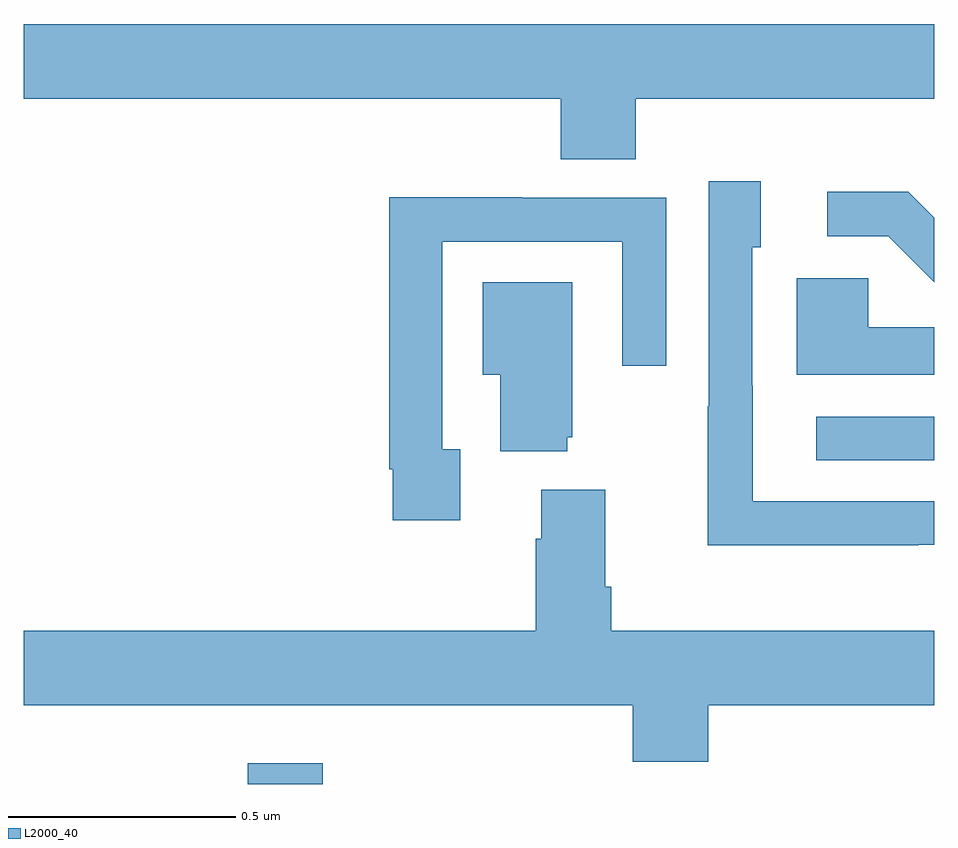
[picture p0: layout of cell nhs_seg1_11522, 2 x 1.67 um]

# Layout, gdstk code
import gdstk
lib = gdstk.Library(unit=1e-6, precision=1e-09)
def R(c, l, rs):  # rectangles x0, y0, x1, y1
    for r in rs: c.add(gdstk.rectangle(r[:2], r[2:], *l))
def P(c, l, *ps):  # polygons
    for p in ps: c.add(gdstk.Polygon(p, *l))
L2000_40 = (2000, 40)

nhs_seg1_11522 = lib.new_cell('nhs_seg1_11522')
R(nhs_seg1_11522, L2000_40, [(254.492,578.199,254.657,578.245), (255.741,578.91,256,579.006)])
P(nhs_seg1_11522, L2000_40, [(255.344,579.704),(256,579.704),(256,579.868),(254,579.868),(254,579.704),(255.179,579.704),(255.179,579.571),(255.344,579.571)],
  [(255.965,578.724),(256,578.724),(256,578.82),(255.601,578.82),(255.601,579.074),(255.6,579.074),(255.6,579.378),(255.619,579.378),(255.619,579.523),(255.504,579.523),(255.504,579.029),(255.502,579.029),(255.502,578.723),(255.965,578.723)],
  [(256,579.443),(255.943,579.5),(255.765,579.5),(255.765,579.402),(255.899,579.402),(256,579.301)],
  [(254.959,578.934),(254.919,578.934),(254.919,579.39),(255.315,579.39),(255.315,579.117),(255.411,579.117),(255.411,579.486),(255.095,579.486),(255.095,579.488),(254.803,579.488),(254.803,578.89),(254.811,578.89),(254.811,578.778),(254.959,578.778)],
  [(256,579.202),(255.855,579.202),(255.855,579.31),(255.698,579.31),(255.698,579.098),(256,579.098)],
  [(255.194,578.961),(255.205,578.961),(255.205,579.301),(255.008,579.301),(255.008,579.098),(255.047,579.098),(255.047,578.93),(255.194,578.93)],
  [(255.503,578.372),(256,578.372),(256,578.536),(255.29,578.536),(255.29,578.632),(255.277,578.632),(255.277,578.845),(255.137,578.845),(255.137,578.738),(255.125,578.738),(255.125,578.536),(254,578.536),(254,578.372),(255.338,578.372),(255.338,578.248),(255.503,578.248)])

lib.write_gds('nhs_seg1_11522.gds')
